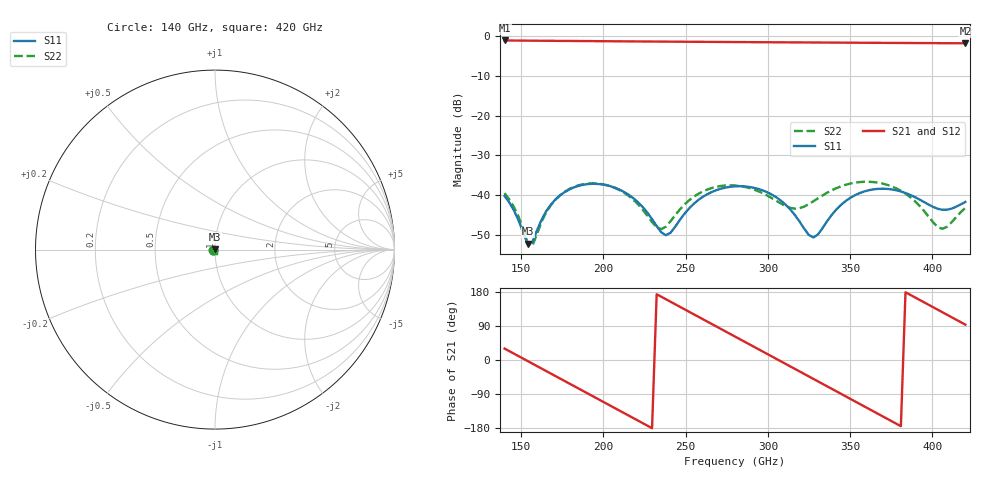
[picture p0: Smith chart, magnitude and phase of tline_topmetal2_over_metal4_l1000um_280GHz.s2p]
#  GHZ S DB R 50
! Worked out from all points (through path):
!   101 points, 140 GHz to 420 GHz, reference 50 ohm
!   highest |S21| = -1.04 dB at 140 GHz (marker M1); lowest = -1.7 dB at 420 GHz (marker M2)
!   group delay of S21, straight-line fit = 6.52 ps
!   lowest |S11| = -52.2 dB at 154 GHz (marker M3), VSWR 1.00, Z = 50 + j0.243 ohm
!   |S11| at or under -10 dB: start of sweep to end of sweep
!   |S22| runs from -52.9 to -36.7 dB; largest |S21 - S12| = 9.8e-14
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140  -40.23 -168.1  -1.04 30.1  -1.04 30.1  -39.55 -166.6
154  -52.25 94.8  -1.08 -2.8  -1.08 -2.8  -52.00 106.9
156.8  -51.89 46.9  -1.09 -9.3  -1.09 -9.3  -52.89 55.5
170.8  -41.16 -43.1  -1.14 -42.1  -1.14 -42.1  -41.21 -43.7
187.6  -37.43 -97.0  -1.19 -81.5  -1.19 -81.5  -37.28 -96.9
201.6  -37.50 -140.0  -1.23 -114.3  -1.23 -114.3  -37.45 -139.7
215.6  -39.99 174.1  -1.27 -147.1  -1.27 -147.1  -40.29 173.2
235.2  -49.40 67.9  -1.32 166.9  -1.32 166.9  -48.60 47.5
240.8  -49.52 6.8  -1.34 153.8  -1.34 153.8  -46.62 -4.5
257.6  -41.29 -90.8  -1.38 114.4  -1.38 114.4  -39.73 -86.2
268.8  -38.75 -130.2  -1.41 88.1  -1.41 88.1  -37.91 -125.2
280  -37.81 -166.7  -1.44 61.9  -1.44 61.9  -37.59 -163.2
294  -38.44 148.3  -1.47 29.0  -1.47 29.0  -39.01 145.9
305.2  -40.60 110.3  -1.50 2.8  -1.50 2.8  -41.48 95.6
316.4  -45.04 63.8  -1.52 -23.5  -1.52 -23.5  -43.43 26.5
327.6  -50.70 -28.5  -1.55 -49.8  -1.55 -49.8  -41.58 -44.5
338.8  -45.00 -119.3  -1.57 -76.1  -1.57 -76.1  -38.80 -96.1
350  -40.73 -165.3  -1.60 -102.4  -1.60 -102.4  -37.12 -137.5
375.2  -38.59 110.2  -1.65 -161.5  -1.65 -161.5  -37.83 138.8
389.2  -40.49 57.9  -1.68 165.6  -1.68 165.6  -41.50 87.5
406  -43.71 -32.3  -1.72 126.1  -1.72 126.1  -48.51 -25.9
420  -41.74 -113.9  -1.75 93.2  -1.75 93.2  -43.22 -123.3
